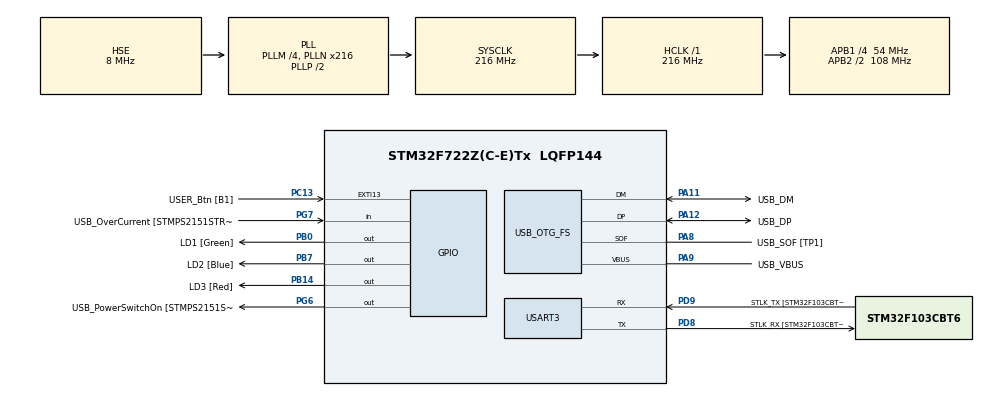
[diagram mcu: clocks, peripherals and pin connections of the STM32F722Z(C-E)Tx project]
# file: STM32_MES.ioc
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Mcu.Family=STM32F7
Mcu.Name=STM32F722Z(C-E)Tx
Mcu.Package=LQFP144
NVIC.PriorityGroup=NVIC_PRIORITYGROUP_4
NVIC.TIM8_UP_TIM13_IRQn=true\:0\:0\:false\:false\:true\:true\:true\:true
NVIC.USART3_IRQn=true\:0\:0\:false\:false\:true\:true\:true\:true
PA10.GPIO_Label=USB_ID
PA10.Signal=USB_OTG_FS_ID
PA11.GPIO_Label=USB_DM
PA11.Mode=Device_Only
PA11.Signal=USB_OTG_FS_DM
PA12.GPIO_Label=USB_DP
PA12.Mode=Device_Only
PA12.Signal=USB_OTG_FS_DP
PA13.GPIO_Label=TMS
PA13.Mode=Serial_Wire
PA13.Signal=SYS_JTMS-SWDIO
PA14.GPIO_Label=TCK
PA14.Mode=Serial_Wire
PA14.Signal=SYS_JTCK-SWCLK
PA8.GPIO_Label=USB_SOF [TP1]
PA8.Mode=Activate_SOF_FS
PA8.Signal=USB_OTG_FS_SOF
PA9.GPIO_Label=USB_VBUS
PA9.Mode=Activate_VBUS
PA9.Signal=USB_OTG_FS_VBUS
PB0.GPIO_Label=LD1 [Green]
PB0.Signal=GPIO_Output
PB14.GPIO_Label=LD3 [Red]
PB14.Signal=GPIO_Output
PB3.GPIO_Label=SWO
PB3.Signal=SYS_JTDO-SWO
PB7.GPIO_Label=LD2 [Blue]
PB7.Signal=GPIO_Output
PC13.GPIO_Label=USER_Btn [B1]
PC13.Signal=GPXTI13
PC14-OSC32_IN.Mode=LSE-External-Oscillator
PC14-OSC32_IN.Signal=RCC_OSC32_IN
PC15-OSC32_OUT.Mode=LSE-External-Oscillator
PC15-OSC32_OUT.Signal=RCC_OSC32_OUT
PD8.GPIO_Label=STLK_RX [STM32F103CBT6_PA3]
PD8.Mode=Asynchronous
PD8.Signal=USART3_TX
PD9.GPIO_Label=STLK_TX [STM32F103CBT6_PA2]
PD9.Mode=Asynchronous
PD9.Signal=USART3_RX
PG6.GPIO_Label=USB_PowerSwitchOn [STMPS2151STR_EN]
PG6.Signal=GPIO_Output
PG7.GPIO_Label=USB_OverCurrent [STMPS2151STR_FAULT]
PG7.Signal=GPIO_Input
PH0-OSC_IN.GPIO_Label=MCO
PH0-OSC_IN.Mode=HSE-External-Clock-Source
PH0-OSC_IN.Signal=RCC_OSC_IN
PH1-OSC_OUT.Mode=HSE-External-Clock-Source
PH1-OSC_OUT.Signal=RCC_OSC_OUT
ProjectManager.HeapSize=0x200
ProjectManager.StackSize=0x400
ProjectManager.TargetToolchain=STM32CubeIDE
RCC.48MHZClocksFreq_Value=24000000
RCC.AHBFreq_Value=216000000
RCC.APB1CLKDivider=RCC_HCLK_DIV4
RCC.APB1Freq_Value=54000000
RCC.APB1TimFreq_Value=108000000
RCC.APB2CLKDivider=RCC_HCLK_DIV2
RCC.APB2Freq_Value=108000000
RCC.APB2TimFreq_Value=216000000
RCC.CortexFreq_Value=216000000
RCC.HCLKFreq_Value=216000000
RCC.HSE_VALUE=8000000
RCC.HSI_VALUE=16000000
RCC.PLLM=4
RCC.PLLMUL=RCC_PLL_MUL9
RCC.PLLN=216
RCC.PLLQ=9
RCC.PRESCALERUSB=RCC_USBCLKSOURCE_PLL_DIV1_5
RCC.SYSCLKFreq_VALUE=216000000
RCC.SYSCLKSource=RCC_SYSCLKSOURCE_PLLCLK
RCC.SYSCLKSourceVirtual=RCC_SYSCLKSOURCE_PLLCLK
RCC.USBFreq_Value=48000000
RCC.VCOOutputFreq_Value=432000000
TIM13.Period=10000-1
TIM13.Prescaler=108-1
USART3.VirtualMode-Asynchronous=VM_ASYNC
USB_OTG_FS.VirtualMode=Device_Only
VP_TIM13_VS_ClockSourceINT.Mode=Enable_Timer
board=NUCLEO-F722ZE

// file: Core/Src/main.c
/* USER CODE BEGIN Header */
/**
  ******************************************************************************
  * @file           : main.c
  * @brief          : Main program body
  ******************************************************************************
  * @attention
  *
  * Copyright (c) 2023 STMicroelectronics.
  * All rights reserved.
  *
  * This software is licensed under terms that can be found in the LICENSE file
  * in the root directory of this software component.
  * If no LICENSE file comes with this software, it is provided AS-IS.
  *
  ******************************************************************************
  */
/* USER CODE END Header */
#include "main.h"

/* USER CODE BEGIN Includes */
#include "console.h"  //for the cmd line interface
/* USER CODE END Includes */

TIM_HandleTypeDef htim13;

UART_HandleTypeDef huart3;

PCD_HandleTypeDef hpcd_USB_OTG_FS;

/* USER CODE BEGIN PV */
uint8_t BlinkSpeed = 0; //clitest2
uint8_t msg[20];
uint8_t debounceRequest =0;
uint8_t debounceCount = 0;
uint8_t rx_buffer[10];
/* USER CODE END PV */

void SystemClock_Config(void);
static void MX_GPIO_Init(void);
static void MX_USART3_UART_Init(void);
static void MX_USB_OTG_FS_PCD_Init(void);
static void MX_TIM13_Init(void);

int main(void)
{

  /* MCU Configuration--------------------------------------------------------*/

  /* Reset of all peripherals, Initializes the Flash interface and the Systick. */
  HAL_Init();

  /* Configure the system clock */
  SystemClock_Config();

  /* Initialize all configured peripherals */
  MX_GPIO_Init();
  MX_USART3_UART_Init();
  MX_USB_OTG_FS_PCD_Init();
  MX_TIM13_Init();
  /* USER CODE BEGIN 2 */

  // Start timer
  HAL_TIM_Base_Start_IT(&htim13);
  HAL_UART_Transmit_IT(&huart3, "Main function\n\r" , strlen("Main function\n\r"));
  /* USER CODE END 2 */

  /* Infinite loop */
  /* USER CODE BEGIN WHILE */
  ConsoleInit();
  while (1)
  {
	  //HAL_UART_Receive(&huart3, rx_buffer, 10, 1000000); /*Blocking fucnction for UART RX*/
	                                                       /* It stays blocked untill 10 bytes are recieved*/
	  //while(1);
	  ConsoleProcess();
	  if(BlinkSpeed == 0)
	  {
		  HAL_GPIO_WritePin(GPIOB, GPIO_PIN_0, 1);
		  HAL_GPIO_WritePin(GPIOB, GPIO_PIN_7, 0);
		  //HAL_GPIO_WritePin(GPIOB, GPIO_PIN_14, 0);
		  //HAL_UART_Transmit(&huart3, (uint8_t *)"Hello Green\n", 15, 1000);
		  //HAL_GPIO_TogglePin(GPIOB, GPIO_PIN_0);//green
		  //HAL_Delay(500);/*comment*/
	  }
	  else if(BlinkSpeed == 1)
	  {
		  //HAL_GPIO_TogglePin(GPIOB, GPIO_PIN_7);//blue
		  //HAL_Delay(100);
		  HAL_GPIO_WritePin(GPIOB, GPIO_PIN_0, 0);
		  HAL_GPIO_WritePin(GPIOB, GPIO_PIN_7, 1);
		  //HAL_GPIO_WritePin(GPIOB, GPIO_PIN_14, 0);
		  //HAL_UART_Transmit(&huart3, (uint8_t *)"Hello Blue\n", 15, 1000);
	  }
	  else if(BlinkSpeed == 2)
	  {
		  //HAL_GPIO_TogglePin(GPIOB, GPIO_PIN_14);//red
		  //HAL_Delay(50);
		  HAL_GPIO_WritePin(GPIOB, GPIO_PIN_0, 0);
		  HAL_GPIO_WritePin(GPIOB, GPIO_PIN_7, 0);
		  //HAL_GPIO_WritePin(GPIOB, GPIO_PIN_14, 0);
		  //HAL_UART_Transmit(&huart3, (uint8_t *)"Hello Red\n", 15, 1000);
		  //test
	  }
	  HAL_GPIO_TogglePin(GPIOB, GPIO_PIN_14);//red
	  HAL_Delay(50);
    /* USER CODE END WHILE */

  }
}

void SystemClock_Config(void)
{
  RCC_OscInitTypeDef RCC_OscInitStruct = {0};
  RCC_ClkInitTypeDef RCC_ClkInitStruct = {0};

  /** Configure LSE Drive Capability
  */
  HAL_PWR_EnableBkUpAccess();

  /** Configure the main internal regulator output voltage
  */
  __HAL_RCC_PWR_CLK_ENABLE();
  __HAL_PWR_VOLTAGESCALING_CONFIG(PWR_REGULATOR_VOLTAGE_SCALE1);

  /** Initializes the RCC Oscillators according to the specified parameters
  * in the RCC_OscInitTypeDef structure.
  */
  RCC_OscInitStruct.OscillatorType = RCC_OSCILLATORTYPE_HSE;
  RCC_OscInitStruct.HSEState = RCC_HSE_BYPASS;
  RCC_OscInitStruct.PLL.PLLState = RCC_PLL_ON;
  RCC_OscInitStruct.PLL.PLLSource = RCC_PLLSOURCE_HSE;
  RCC_OscInitStruct.PLL.PLLM = 4;
  RCC_OscInitStruct.PLL.PLLN = 216;
  RCC_OscInitStruct.PLL.PLLP = RCC_PLLP_DIV2;
  RCC_OscInitStruct.PLL.PLLQ = 9;
  if (HAL_RCC_OscConfig(&RCC_OscInitStruct) != HAL_OK)
  {
    Error_Handler();
  }

  /** Activate the Over-Drive mode
  */
  if (HAL_PWREx_EnableOverDrive() != HAL_OK)
  {
    Error_Handler();
  }

  /** Initializes the CPU, AHB and APB buses clocks
  */
  RCC_ClkInitStruct.ClockType = RCC_CLOCKTYPE_HCLK|RCC_CLOCKTYPE_SYSCLK
                              |RCC_CLOCKTYPE_PCLK1|RCC_CLOCKTYPE_PCLK2;
  RCC_ClkInitStruct.SYSCLKSource = RCC_SYSCLKSOURCE_PLLCLK;
  RCC_ClkInitStruct.AHBCLKDivider = RCC_SYSCLK_DIV1;
  RCC_ClkInitStruct.APB1CLKDivider = RCC_HCLK_DIV4;
  RCC_ClkInitStruct.APB2CLKDivider = RCC_HCLK_DIV2;

  if (HAL_RCC_ClockConfig(&RCC_ClkInitStruct, FLASH_LATENCY_7) != HAL_OK)
  {
    Error_Handler();
  }
}

static void MX_TIM13_Init(void)
{

  htim13.Instance = TIM13;
  htim13.Init.Prescaler = 108-1;
  htim13.Init.CounterMode = TIM_COUNTERMODE_UP;
  htim13.Init.Period = 10000-1;
  htim13.Init.ClockDivision = TIM_CLOCKDIVISION_DIV1;
  htim13.Init.AutoReloadPreload = TIM_AUTORELOAD_PRELOAD_DISABLE;
  if (HAL_TIM_Base_Init(&htim13) != HAL_OK)
  {
    Error_Handler();
  }

}

static void MX_USART3_UART_Init(void)
{

  huart3.Instance = USART3;
  huart3.Init.BaudRate = 115200;
  huart3.Init.WordLength = UART_WORDLENGTH_8B;
  huart3.Init.StopBits = UART_STOPBITS_1;
  huart3.Init.Parity = UART_PARITY_NONE;
  huart3.Init.Mode = UART_MODE_TX_RX;
  huart3.Init.HwFlowCtl = UART_HWCONTROL_NONE;
  huart3.Init.OverSampling = UART_OVERSAMPLING_16;
  huart3.Init.OneBitSampling = UART_ONE_BIT_SAMPLE_DISABLE;
  huart3.AdvancedInit.AdvFeatureInit = UART_ADVFEATURE_NO_INIT;
  if (HAL_UART_Init(&huart3) != HAL_OK)
  {
    Error_Handler();
  }

}

static void MX_USB_OTG_FS_PCD_Init(void)
{

  hpcd_USB_OTG_FS.Instance = USB_OTG_FS;
  hpcd_USB_OTG_FS.Init.dev_endpoints = 6;
  hpcd_USB_OTG_FS.Init.speed = PCD_SPEED_FULL;
  hpcd_USB_OTG_FS.Init.dma_enable = DISABLE;
  hpcd_USB_OTG_FS.Init.phy_itface = PCD_PHY_EMBEDDED;
  hpcd_USB_OTG_FS.Init.Sof_enable = ENABLE;
  hpcd_USB_OTG_FS.Init.low_power_enable = DISABLE;
  hpcd_USB_OTG_FS.Init.lpm_enable = DISABLE;
  hpcd_USB_OTG_FS.Init.battery_charging_enable = ENABLE;
  hpcd_USB_OTG_FS.Init.vbus_sensing_enable = ENABLE;
  hpcd_USB_OTG_FS.Init.use_dedicated_ep1 = DISABLE;
  if (HAL_PCD_Init(&hpcd_USB_OTG_FS) != HAL_OK)
  {
    Error_Handler();
  }

}

static void MX_GPIO_Init(void)
{
  GPIO_InitTypeDef GPIO_InitStruct = {0};

  /* GPIO Ports Clock Enable */
  __HAL_RCC_GPIOC_CLK_ENABLE();
  __HAL_RCC_GPIOH_CLK_ENABLE();
  __HAL_RCC_GPIOB_CLK_ENABLE();
  __HAL_RCC_GPIOD_CLK_ENABLE();
  __HAL_RCC_GPIOG_CLK_ENABLE();
  __HAL_RCC_GPIOA_CLK_ENABLE();

  /*Configure GPIO pin Output Level */
  HAL_GPIO_WritePin(GPIOB, LD1_Pin|LD3_Pin|LD2_Pin, GPIO_PIN_RESET);

  /*Configure GPIO pin Output Level */
  HAL_GPIO_WritePin(USB_PowerSwitchOn_GPIO_Port, USB_PowerSwitchOn_Pin, GPIO_PIN_RESET);

  /*Configure GPIO pin : USER_Btn_Pin */
  GPIO_InitStruct.Pin = USER_Btn_Pin;
  GPIO_InitStruct.Mode = GPIO_MODE_IT_RISING;
  GPIO_InitStruct.Pull = GPIO_NOPULL;
  HAL_GPIO_Init(USER_Btn_GPIO_Port, &GPIO_InitStruct);

  /*Configure GPIO pins : LD1_Pin LD3_Pin LD2_Pin */
  GPIO_InitStruct.Pin = LD1_Pin|LD3_Pin|LD2_Pin;
  GPIO_InitStruct.Mode = GPIO_MODE_OUTPUT_PP;
  GPIO_InitStruct.Pull = GPIO_NOPULL;
  GPIO_InitStruct.Speed = GPIO_SPEED_FREQ_LOW;
  HAL_GPIO_Init(GPIOB, &GPIO_InitStruct);

  /*Configure GPIO pin : USB_PowerSwitchOn_Pin */
  GPIO_InitStruct.Pin = USB_PowerSwitchOn_Pin;
  GPIO_InitStruct.Mode = GPIO_MODE_OUTPUT_PP;
  GPIO_InitStruct.Pull = GPIO_NOPULL;
  GPIO_InitStruct.Speed = GPIO_SPEED_FREQ_LOW;
  HAL_GPIO_Init(USB_PowerSwitchOn_GPIO_Port, &GPIO_InitStruct);

  /*Configure GPIO pin : USB_OverCurrent_Pin */
  GPIO_InitStruct.Pin = USB_OverCurrent_Pin;
  GPIO_InitStruct.Mode = GPIO_MODE_INPUT;
  GPIO_InitStruct.Pull = GPIO_NOPULL;
  HAL_GPIO_Init(USB_OverCurrent_GPIO_Port, &GPIO_InitStruct);

}

/* USER CODE BEGIN 4 */
/* Timer13 interupt that fires every 5 ms to check push button press and handle debouncing*/
void HAL_TIM_PeriodElapsedCallback(TIM_HandleTypeDef *htim)
{

	if (htim == &htim13 )
	{
		if (!debounceRequest)
		{
			if (HAL_GPIO_ReadPin(GPIOC, GPIO_PIN_13) == 1)
			{
				HAL_UART_Transmit_IT(&huart3, "Button Pressed\n\r" , strlen("Button Pressed\n\r"));
				if(BlinkSpeed == 2)
				{
					BlinkSpeed = 0;
				}
				else
				{
					BlinkSpeed ++;

				}
				debounceRequest = 1;
			}
		}
		// Handle debounce
		else
		{
			if (HAL_GPIO_ReadPin(GPIOC, GPIO_PIN_13) == 1)
				debounceCount = 0;
			else
			{
				debounceCount ++;
				if (debounceCount == 10)
				{
					debounceCount = 0;
					debounceRequest = 0;
				}
			}
		}
	}

}
/* USER CODE END 4 */

void Error_Handler(void)
{
  __disable_irq();
  while (1)
  {
  }
}
